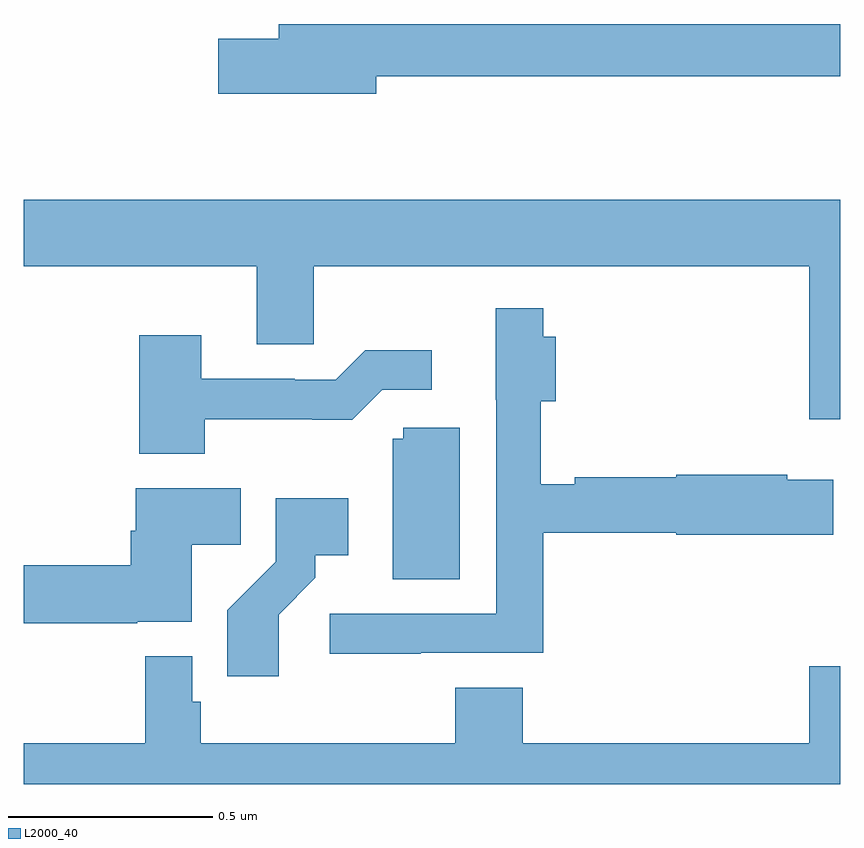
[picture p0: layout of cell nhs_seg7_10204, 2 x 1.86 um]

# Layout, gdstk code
import gdstk
lib = gdstk.Library(unit=1e-6, precision=1e-09)
def P(c, l, *ps):  # polygons
    for p in ps: c.add(gdstk.Polygon(p, *l))
L2000_40 = (2000, 40)

nhs_seg7_10204 = lib.new_cell('nhs_seg7_10204')
P(nhs_seg7_10204, L2000_40, [(247.864,1015.734),(249,1015.734),(249,1015.862),(247.625,1015.862),(247.625,1015.826),(247.476,1015.826),(247.476,1015.691),(247.864,1015.691)],
  [(249,1015.432),(247,1015.432),(247,1015.268),(247.571,1015.268),(247.571,1015.078),(247.71,1015.078),(247.71,1015.268),(248.924,1015.268),(248.924,1014.894),(249,1014.894)],
  [(247.973,1014.321),(248.273,1014.321),(248.273,1014.616),(248.598,1014.616),(248.598,1014.611),(248.983,1014.611),(248.983,1014.745),(248.87,1014.745),(248.87,1014.758),(248.598,1014.758),(248.598,1014.752),(248.35,1014.752),(248.35,1014.734),(248.266,1014.734),(248.266,1014.938),(248.303,1014.938),(248.303,1015.096),(248.273,1015.096),(248.273,1015.165),(248.156,1015.165),(248.156,1014.942),(248.157,1014.942),(248.157,1014.417),(247.749,1014.417),(247.749,1014.319),(247.973,1014.319)],
  [(247.443,1014.894),(247.706,1014.894),(247.706,1014.893),(247.805,1014.893),(247.878,1014.966),(247.999,1014.966),(247.999,1015.063),(247.837,1015.063),(247.764,1014.99),(247.664,1014.99),(247.664,1014.993),(247.435,1014.993),(247.435,1015.099),(247.283,1015.099),(247.283,1014.809),(247.443,1014.809)],
  [(248.068,1014.873),(247.929,1014.873),(247.929,1014.846),(247.904,1014.846),(247.904,1014.502),(248.068,1014.502)],
  [(247.278,1014.398),(247.411,1014.398),(247.411,1014.586),(247.532,1014.586),(247.532,1014.724),(247.274,1014.724),(247.274,1014.62),(247.262,1014.62),(247.262,1014.536),(247,1014.536),(247,1014.394),(247.278,1014.394)],
  [(247.624,1014.415),(247.714,1014.505),(247.714,1014.56),(247.795,1014.56),(247.795,1014.7),(247.617,1014.7),(247.617,1014.545),(247.498,1014.426),(247.498,1014.264),(247.624,1014.264)],
  [(249,1014.289),(248.924,1014.289),(248.924,1014.1),(248.222,1014.1),(248.222,1014.236),(248.057,1014.236),(248.057,1014.1),(247.433,1014.1),(247.433,1014.201),(247.413,1014.201),(247.413,1014.313),(247.297,1014.313),(247.297,1014.1),(247,1014.1),(247,1014),(249,1014)])

lib.write_gds('nhs_seg7_10204.gds')
